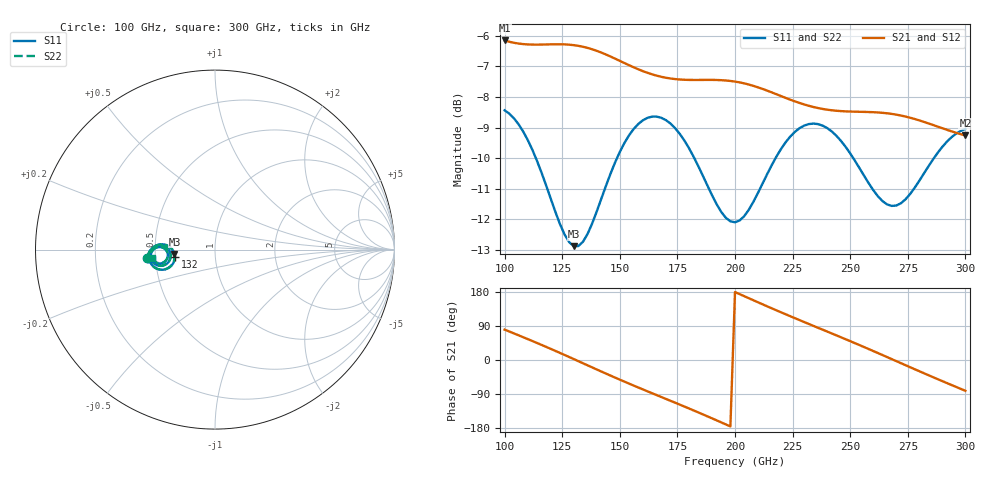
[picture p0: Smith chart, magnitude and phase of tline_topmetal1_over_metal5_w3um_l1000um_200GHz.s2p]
#  GHZ S DB R 50
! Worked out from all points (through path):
!   101 points, 100 GHz to 300 GHz, reference 50 ohm
!   highest |S21| = -6.15 dB at 100 GHz (marker M1); lowest = -9.3 dB at 300 GHz (marker M2)
!   group delay of S21, straight-line fit = 7.25 ps
!   lowest |S11| = -12.9 dB at 130 GHz (marker M3), VSWR 1.59, Z = 31.6 - j1.66 ohm
!   |S11| at or under -10 dB: 113.6 GHz to 148.8 GHz (35.2 GHz wide, 26.8 % of centre); 182.4 GHz to 217.6 GHz (35.25 GHz wide, 17.6 % of centre); 251.3 GHz to 286.3 GHz (34.98 GHz wide, 13 % of centre)
!   |S22| runs from -12.8 to -8.4 dB; largest |S21 - S12| = 5.6e-14
!   S11 on the Smith chart (normalised r, x): 100 GHz: 0.45, -0.05; 132 GHz: 0.63, -0.05; 300 GHz: 0.48, -0.06
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100  -8.43 -173.2  -6.15 80.2  -6.15 80.2  -8.42 -173.1
108  -9.12 178.7  -6.27 60.3  -6.27 60.3  -9.10 178.8
118  -10.89 174.2  -6.28 34.7  -6.28 34.7  -10.86 174.3
130  -12.88 -173.7  -6.30 2.5  -6.30 2.5  -12.83 -173.7
132  -12.87 -170.2  -6.32 -3.0  -6.32 -3.0  -12.83 -170.2
134  -12.74 -166.8  -6.35 -8.5  -6.35 -8.5  -12.69 -166.9
142  -11.32 -158.7  -6.55 -30.4  -6.55 -30.4  -11.29 -158.9
152  -9.50 -161.0  -6.89 -57.1  -6.89 -57.1  -9.49 -161.1
160  -8.76 -167.4  -7.15 -77.6  -7.15 -77.6  -8.75 -167.5
168  -8.68 -174.7  -7.34 -97.6  -7.34 -97.6  -8.67 -174.8
176  -9.20 179.0  -7.43 -117.7  -7.43 -117.7  -9.19 178.9
186  -10.57 175.7  -7.44 -143.4  -7.44 -143.4  -10.55 175.6
200  -12.10 -173.2  -7.49 179.3  -7.49 179.3  -12.07 -173.3
208  -11.42 -164.9  -7.63 157.6  -7.63 157.6  -11.40 -165.1
218  -9.94 -163.5  -7.91 131.0  -7.91 131.0  -9.93 -163.6
234  -8.87 -173.2  -8.32 90.2  -8.32 90.2  -8.86 -173.4
250  -9.84 177.8  -8.47 49.7  -8.47 49.7  -9.83 177.6
260  -11.04 179.1  -8.50 23.7  -8.50 23.7  -11.03 178.9
268  -11.56 -174.7  -8.55 2.4  -8.55 2.4  -11.55 -174.9
276  -11.17 -168.0  -8.68 -19.0  -8.68 -19.0  -11.17 -168.3
286  -10.03 -165.7  -8.92 -45.4  -8.92 -45.4  -10.04 -166.1
300  -9.04 -171.7  -9.26 -81.3  -9.26 -81.3  -9.07 -172.1
